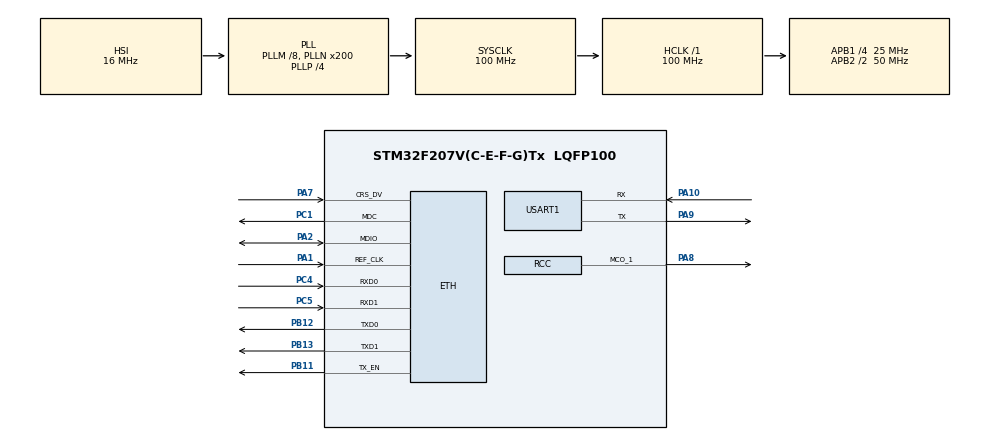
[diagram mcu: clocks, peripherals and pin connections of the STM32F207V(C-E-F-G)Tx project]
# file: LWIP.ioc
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ETH.MediaInterface=ETH_MEDIA_INTERFACE_RMII
LWIP.GATEWAY_ADDRESS=192.168.001.001
LWIP.IP_ADDRESS=192.168.001.200
LWIP.LWIP_DHCP=0
LWIP.NETMASK_ADDRESS=255.255.255.000
LWIP.Version=v1.5.0_RC0_20160211
Mcu.Family=STM32F2
Mcu.Name=STM32F207V(C-E-F-G)Tx
Mcu.Package=LQFP100
NVIC.ETH_IRQn=true\:0\:0\:false\:true\:true\:1
NVIC.PriorityGroup=NVIC_PRIORITYGROUP_4
PA1.Mode=RMII
PA1.Signal=ETH_REF_CLK
PA10.Mode=Asynchronous
PA10.Signal=USART1_RX
PA13.Mode=Serial_Wire
PA13.Signal=SYS_JTMS-SWDIO
PA14.Mode=Serial_Wire
PA14.Signal=SYS_JTCK-SWCLK
PA2.Mode=RMII
PA2.Signal=ETH_MDIO
PA7.Mode=RMII
PA7.Signal=ETH_CRS_DV
PA8.Mode=Clock-out-1
PA8.Signal=RCC_MCO_1
PA9.Mode=Asynchronous
PA9.Signal=USART1_TX
PB11.Mode=RMII
PB11.Signal=ETH_TX_EN
PB12.Mode=RMII
PB12.Signal=ETH_TXD0
PB13.Mode=RMII
PB13.Signal=ETH_TXD1
PC1.Mode=RMII
PC1.Signal=ETH_MDC
PC4.Mode=RMII
PC4.Signal=ETH_RXD0
PC5.Mode=RMII
PC5.Signal=ETH_RXD1
PH0-OSC_IN.Mode=HSE-External-Clock-Source
PH0-OSC_IN.Signal=RCC_OSC_IN
PH1-OSC_OUT.Mode=HSE-External-Clock-Source
PH1-OSC_OUT.Signal=RCC_OSC_OUT
ProjectManager.HeapSize=0x200
ProjectManager.StackSize=0x400
ProjectManager.TargetToolchain=MDK-ARM V5
RCC.48MHZClocksFreq_Value=100000000
RCC.AHBFreq_Value=100000000
RCC.APB1CLKDivider=RCC_HCLK_DIV4
RCC.APB1Freq_Value=25000000
RCC.APB1TimFreq_Value=50000000
RCC.APB2CLKDivider=RCC_HCLK_DIV2
RCC.APB2Freq_Value=50000000
RCC.APB2TimFreq_Value=100000000
RCC.CortexFreq_Value=100000000
RCC.HCLKFreq_Value=100000000
RCC.HSE_VALUE=25000000
RCC.HSI_VALUE=16000000
RCC.LSE_VALUE=32768
RCC.PLLM=8
RCC.PLLN=200
RCC.PLLP=RCC_PLLP_DIV4
RCC.RCC_MCO1Source=RCC_MCO1SOURCE_PLLCLK
RCC.RCC_MCODiv1=RCC_MCODIV_2
RCC.SYSCLKFreq_VALUE=100000000
RCC.SYSCLKSource=RCC_SYSCLKSOURCE_PLLCLK
RCC.VCOOutputFreq_Value=400000000
VP_LWIP_VS_Enabled.Mode=Enabled
board=LWIP

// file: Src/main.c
/**
  ******************************************************************************
  * File Name          : main.c
  * Description        : Main program body
  ******************************************************************************
  *
  * COPYRIGHT(c) 2017 STMicroelectronics
  *
  * Redistribution and use in source and binary forms, with or without modification,
  * are permitted provided that the following conditions are met:
  *   1. Redistributions of source code must retain the above copyright notice,
  *      this list of conditions and the following disclaimer.
  *   2. Redistributions in binary form must reproduce the above copyright notice,
  *      this list of conditions and the following disclaimer in the documentation
  *      and/or other materials provided with the distribution.
  *   3. Neither the name of STMicroelectronics nor the names of its contributors
  *      may be used to endorse or promote products derived from this software
  *      without specific prior written permission.
  *
  * THIS SOFTWARE IS PROVIDED BY THE COPYRIGHT HOLDERS AND CONTRIBUTORS "AS IS"
  * AND ANY EXPRESS OR IMPLIED WARRANTIES, INCLUDING, BUT NOT LIMITED TO, THE
  * IMPLIED WARRANTIES OF MERCHANTABILITY AND FITNESS FOR A PARTICULAR PURPOSE ARE
  * DISCLAIMED. IN NO EVENT SHALL THE COPYRIGHT HOLDER OR CONTRIBUTORS BE LIABLE
  * FOR ANY DIRECT, INDIRECT, INCIDENTAL, SPECIAL, EXEMPLARY, OR CONSEQUENTIAL
  * DAMAGES (INCLUDING, BUT NOT LIMITED TO, PROCUREMENT OF SUBSTITUTE GOODS OR
  * SERVICES; LOSS OF USE, DATA, OR PROFITS; OR BUSINESS INTERRUPTION) HOWEVER
  * CAUSED AND ON ANY THEORY OF LIABILITY, WHETHER IN CONTRACT, STRICT LIABILITY,
  * OR TORT (INCLUDING NEGLIGENCE OR OTHERWISE) ARISING IN ANY WAY OUT OF THE USE
  * OF THIS SOFTWARE, EVEN IF ADVISED OF THE POSSIBILITY OF SUCH DAMAGE.
  *
  ******************************************************************************
  */
#include "stm32f2xx_hal.h"
#include "lwip.h"
#include "usart.h"
#include "gpio.h"

/* USER CODE BEGIN Includes */

#include "app_ethernet.h"
#include "tcp_echoclient.h"
#include "tcp_echoserver.h"

/* USER CODE END Includes */

/* USER CODE BEGIN PV */
/* Private variables ---------------------------------------------------------*/
#ifdef __GNUC__
  /* With GCC/RAISONANCE, small printf (option LD Linker->Libraries->Small printf
     set to 'Yes') calls __io_putchar() */
  #define PUTCHAR_PROTOTYPE int __io_putchar(int ch)
#else
  #define PUTCHAR_PROTOTYPE int fputc(int ch, FILE *f)
#endif /* __GNUC__ */

 /**
  * @brief  Retargets the C library printf function to the USART.
  * @param  None
  * @retval None
  */
PUTCHAR_PROTOTYPE
{
  /* Place your implementation of fputc here */
  /* e.g. write a character to the USART */
  HAL_UART_Transmit(&huart1, (uint8_t *)&ch, 1, 0xFFFF);
  return ch;
}
/* USER CODE END PV */

void SystemClock_Config(void);
void Error_Handler(void);
static void MX_NVIC_Init(void);

/* USER CODE BEGIN PFP */
/* Private function prototypes -----------------------------------------------*/

/* USER CODE END PFP */

/* USER CODE BEGIN 0 */

extern struct netif gnetif;

#define   TIME_DELAY  3000

#define SEND_DATA_SIZE 1024
FLASH_OBProgramInitTypeDef OBInit;
//uint8_t  txdata[SEND_DATA_SIZE] ="Hi,I am creep!!";
char  *txdata="Hi,I am creep!!";
uint8_t  tmp_buff[512] ;
uint8_t  rd_buff[512];

/* USER CODE END 0 */

int main(void)
{

  /* USER CODE BEGIN 1 */
  static uint16_t  t = 0;
  /* USER CODE END 1 */

  /* MCU Configuration----------------------------------------------------------*/

  /* Reset of all peripherals, Initializes the Flash interface and the Systick. */
  HAL_Init();

  /* Configure the system clock */
  SystemClock_Config();

  /* Initialize all configured peripherals */
  MX_GPIO_Init();
  MX_USART1_UART_Init();
	BSP_LED_Init( );
  MX_LWIP_Init();

  /* Initialize interrupts */
  MX_NVIC_Init();

  /* USER CODE BEGIN 2 */

   /*connect to tcp server */
  tcp_echoclient_connect();

  // /* tcp echo server Init */
 //  tcp_echoserver_init();

  User_notification(&gnetif);

  printf("hello world test\r\n");
  /* USER CODE END 2 */

  /* Infinite loop */
  while (1)
  {

  /* USER CODE BEGIN 3 */
   MX_LWIP_Process(  );

   HAL_Delay(1);
   t++;

	if(t > TIME_DELAY) t = 0;

	if(Get_Client_Connet_State())
	{
		if(rxdatalen)
		{
			printf("line = %d\r\n",__LINE__);
			my_send_data(echoclient_pcb, rxdata, rxdatalen);
			rxdatalen = 0;
			t = 0;
		}

		if(t == 1000)
		{
		   printf("line = %d\r\n",__LINE__);
		   t = 0;

		   my_send_data(echoclient_pcb, (uint8_t *)txdata, strlen(txdata)); //txdata,strlen((const char*)txdata)  "hello world", 20
		}
	}
	else
	{
		if(t == TIME_DELAY)
		{
			t = 0;
			printf("����ʧ��\r\n");
			my_tcp_echoclient_connection_close(echoclient_pcb);
			printf("��������\r\n");
			tcp_echoclient_connect();
		}
	}

  }
  /* USER CODE END 3 */

}

/** System Clock Configuration
*/
void SystemClock_Config(void)
{

  RCC_OscInitTypeDef RCC_OscInitStruct;
  RCC_ClkInitTypeDef RCC_ClkInitStruct;

  RCC_OscInitStruct.OscillatorType = RCC_OSCILLATORTYPE_HSI;
  RCC_OscInitStruct.HSIState = RCC_HSI_ON;
  RCC_OscInitStruct.HSICalibrationValue = 16;
  RCC_OscInitStruct.PLL.PLLState = RCC_PLL_ON;
  RCC_OscInitStruct.PLL.PLLSource = RCC_PLLSOURCE_HSI;
  RCC_OscInitStruct.PLL.PLLM = 8;
  RCC_OscInitStruct.PLL.PLLN = 200;
  RCC_OscInitStruct.PLL.PLLP = RCC_PLLP_DIV4;
  RCC_OscInitStruct.PLL.PLLQ = 4;
  if (HAL_RCC_OscConfig(&RCC_OscInitStruct) != HAL_OK)
  {
    Error_Handler();
  }

  RCC_ClkInitStruct.ClockType = RCC_CLOCKTYPE_HCLK|RCC_CLOCKTYPE_SYSCLK
                              |RCC_CLOCKTYPE_PCLK1|RCC_CLOCKTYPE_PCLK2;
  RCC_ClkInitStruct.SYSCLKSource = RCC_SYSCLKSOURCE_PLLCLK;
  RCC_ClkInitStruct.AHBCLKDivider = RCC_SYSCLK_DIV1;
  RCC_ClkInitStruct.APB1CLKDivider = RCC_HCLK_DIV4;
  RCC_ClkInitStruct.APB2CLKDivider = RCC_HCLK_DIV2;
  if (HAL_RCC_ClockConfig(&RCC_ClkInitStruct, FLASH_LATENCY_3) != HAL_OK)
  {
    Error_Handler();
  }

  HAL_RCC_MCOConfig(RCC_MCO1, RCC_MCO1SOURCE_PLLCLK, RCC_MCODIV_2);

  HAL_SYSTICK_Config(HAL_RCC_GetHCLKFreq()/1000);

  HAL_SYSTICK_CLKSourceConfig(SYSTICK_CLKSOURCE_HCLK);

  /* SysTick_IRQn interrupt configuration */
  HAL_NVIC_SetPriority(SysTick_IRQn, 0, 0);
}

/** NVIC Configuration
*/
static void MX_NVIC_Init(void)
{
  /* ETH_IRQn interrupt configuration */
  HAL_NVIC_SetPriority(ETH_IRQn, 0, 0);
  HAL_NVIC_EnableIRQ(ETH_IRQn);
}

void Error_Handler(void)
{
  while(1)
  {
  }
}

/************************ (C) COPYRIGHT STMicroelectronics *****END OF FILE****/
